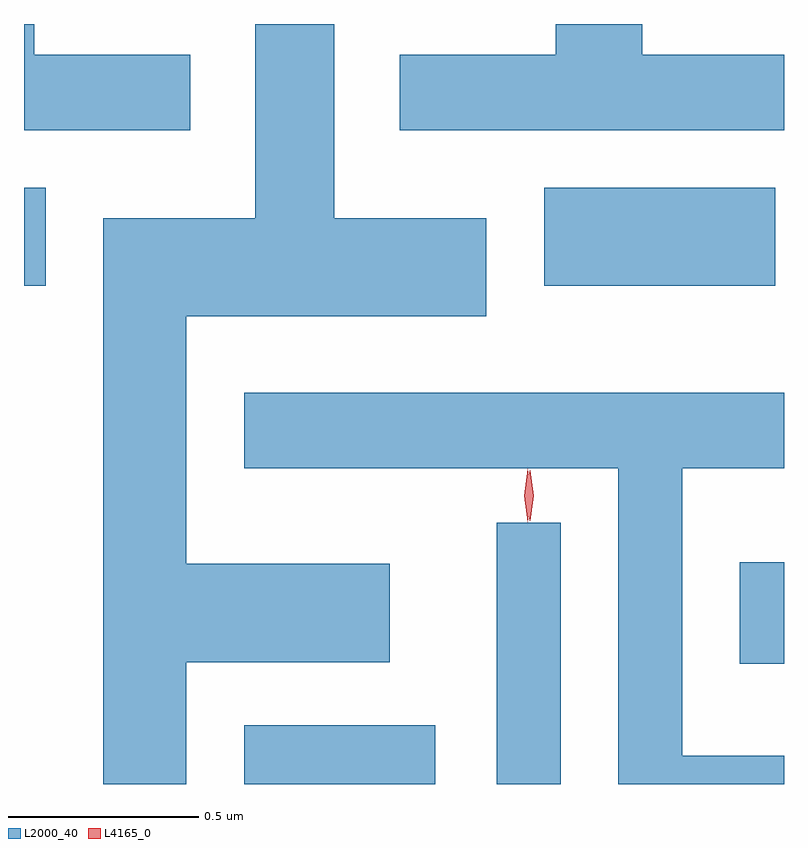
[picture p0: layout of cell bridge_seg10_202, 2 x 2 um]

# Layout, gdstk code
import gdstk
lib = gdstk.Library(unit=1e-6, precision=1e-09)
def R(c, l, rs):  # rectangles x0, y0, x1, y1
    for r in rs: c.add(gdstk.rectangle(r[:2], r[2:], *l))
def P(c, l, *ps):  # polygons
    for p in ps: c.add(gdstk.Polygon(p, *l))
L2000_40 = (2000, 40)
L4165_0 = (4165, 0)

bridge_seg10_202 = lib.new_cell('bridge_seg10_202')
R(bridge_seg10_202, L2000_40, [(1825.006,2141.485,1825.509,2141.639), (1825.671,2141.485,1825.839,2142.173), (1826.311,2141.801,1826.427,2142.069), (1824.427,2142.796,1824.484,2143.054), (1825.796,2142.796,1826.404,2143.054)])
P(bridge_seg10_202, L2000_40, [(1824.854,2141.806),(1825.389,2141.806),(1825.389,2142.064),(1824.854,2142.064),(1824.854,2142.716),(1825.644,2142.716),(1825.644,2142.974),(1825.244,2142.974),(1825.244,2143.485),(1825.036,2143.485),(1825.036,2142.974),(1824.636,2142.974),(1824.636,2141.485),(1824.854,2141.485)],
  [(1826.427,2143.404),(1826.054,2143.404),(1826.054,2143.485),(1825.826,2143.485),(1825.826,2143.404),(1825.416,2143.404),(1825.416,2143.206),(1826.427,2143.206)],
  [(1824.864,2143.404),(1824.454,2143.404),(1824.454,2143.485),(1824.427,2143.485),(1824.427,2143.206),(1824.864,2143.206)],
  [(1826.427,2141.559),(1826.159,2141.559),(1826.159,2142.316),(1826.427,2142.316),(1826.427,2142.514),(1825.006,2142.514),(1825.006,2142.316),(1825.991,2142.316),(1825.991,2141.485),(1826.427,2141.485)])
P(bridge_seg10_202, L4165_0, [(1825.753,2142.174),(1825.752,2142.175),(1825.743,2142.244),(1825.752,2142.313),(1825.753,2142.314),(1825.753,2142.313),(1825.763,2142.244),(1825.753,2142.175)],
  [(1825.758,2142.178),(1825.758,2142.178),(1825.748,2142.244),(1825.758,2142.31),(1825.759,2142.311),(1825.759,2142.31),(1825.768,2142.244),(1825.759,2142.178)])

lib.write_gds('bridge_seg10_202.gds')
